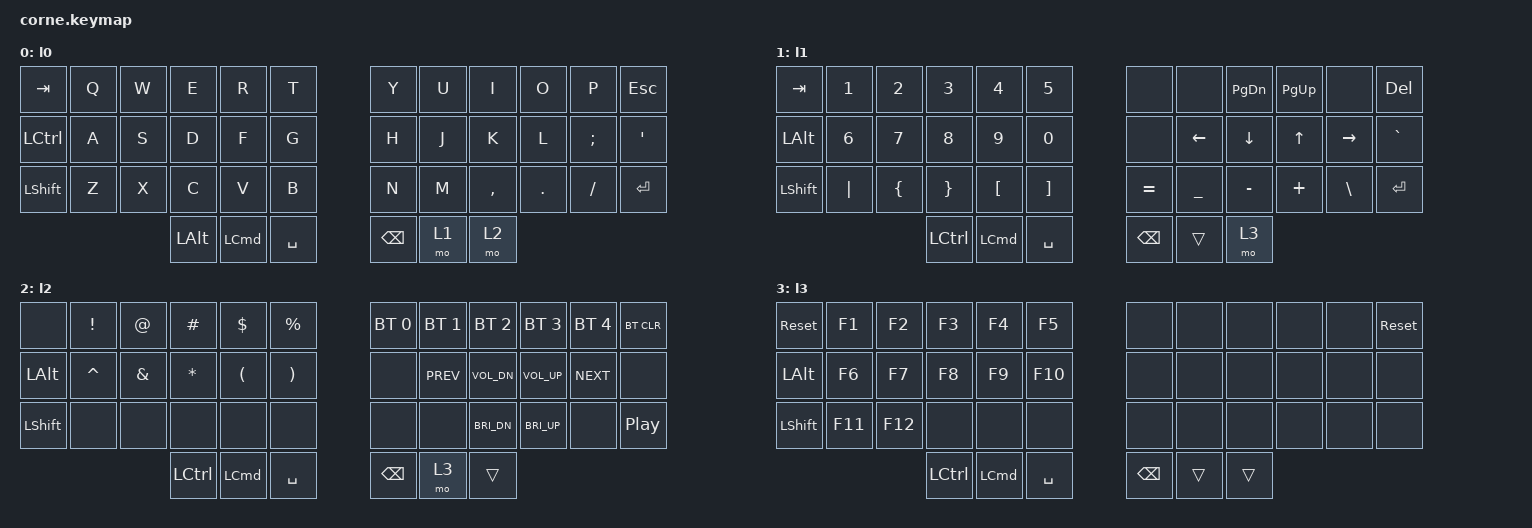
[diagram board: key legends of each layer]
#include <behaviors.dtsi>
#include <dt-bindings/zmk/keys.h>
#include <dt-bindings/zmk/bt.h>

/ {
        keymap {
                compatible = "zmk,keymap";

                l0 {
// -----------------------------------------------------------------------------------------------
// |  TAB |  Q  |  W  |  E  |  R   |  T  |                  |  Y   |  U  |  I  |  O  |  P  | ESC |
// |  ALT |  A  |  S  |  D  |  F   |  G  |                  |  H   |  J  |  K  |  L  |  ;  |  '  |
// | CTRL |  Z  |  X  |  C  |  V   |  B  |                  |  N   |  M  |  ,  |  .  |  /  | ENT |
//                    | GUI | SHFT | SPC |                  | BSPC | L1  | L2  |
                        bindings = <
   &kp TAB   &kp Q &kp W &kp E    &kp R     &kp T        &kp Y    &kp U &kp I     &kp O   &kp P    &kp ESC
   &kp LCTRL &kp A &kp S &kp D    &kp F     &kp G        &kp H    &kp J &kp K     &kp L   &kp SEMI &kp SQT
   &kp LSHFT &kp Z &kp X &kp C    &kp V     &kp B        &kp N    &kp M &kp COMMA &kp DOT &kp FSLH &kp RET
                          &kp LALT &kp LCMD &kp SPACE    &kp BSPC &mo 1 &mo 2
                        >;
                };
                l1 {
// ----------------------------------------------------------------------------------------------
// |  TAB |  1  |  2  |  3  |  4  |  5  |                  |     |     | PGD | PGU |     | DEL  |
// |  ALT |  6  |  7  |  8  |  9  |  0  |                  |     |  <- |  v  |  ^  |  -> |  `   |
// | CTRL |  |  |  {  |  }  |  [  |  ]  |                  |  =  |  _  |  -  |  +  |  \  | ESC  |
//                   | GUI | SHFT | SPC |                  | ENT |     | L3  |
                        bindings = <
   &kp TAB   &kp N1   &kp N2    &kp N3    &kp N4   &kp N5       &none     &none     &kp PG_DN &kp PG_UP &none     &kp DEL
   &kp LALT  &kp N6   &kp N7    &kp N8    &kp N9   &kp N0       &none     &kp LEFT  &kp DOWN  &kp UP    &kp RIGHT &kp GRAVE
   &kp LSHFT &kp PIPE &kp LBRC  &kp RBRC  &kp LBKT &kp RBKT     &kp EQUAL &kp UNDER &kp MINUS &kp PLUS  &kp BSLH  &kp RET
                             &kp LCTRL   &kp LCMD  &kp SPACE    &kp BSPC  &trans    &mo 3
                        >;
                };

                l2 {
// -----------------------------------------------------------------------------------------------
// |     |  @  |  #  |  $  |  %   |  !  |                  | BT1 | BT2  | BT3  | BT4  | BT5 | BTC  |
// |     |  ^  |  &  |  *  |  (   |  )  |                  |     |  prv | vol- | vol+ | nxt |      |
// |     |     |     |     |      |     |                  |     |      | br-  | br+  |     | play |
                bindings = <
&none      &kp EXCL   &kp AT    &kp HASH   &kp DLLR  &kp PRCNT       &bt BT_SEL 0  &bt BT_SEL 1  &bt BT_SEL 2  &bt BT_SEL 3  &bt BT_SEL 4  &bt BT_CLR
&kp LALT   &kp CARET  &kp AMPS  &kp ASTRK  &kp LPAR  &kp RPAR        &none         &kp C_PREV    &kp C_VOL_DN  &kp C_VOL_UP  &kp C_NEXT    &none
&kp LSHFT  &none      &none     &none      &none     &none           &none         &none         &kp C_BRI_DN  &kp C_BRI_UP  &none         &kp C_PP
                                &kp LCTRL  &kp LCMD  &kp SPACE       &kp BSPC      &mo 3         &trans
                >;
                };

                l3 {
// -----------------------------------------------------------------------------------------------
// | TAB  | F1  | F2  | F3  | F4   | F5  |                  |     |      |      |     |    | RST |
// | ALT  | F6  | F7  | F8  | F9   | F10 |                  |     |      |      |     |    |     |
// | CTRL | F11 | F12 |     |      |     |                  |     |      |      |     |    |     |
//                    | GUI | SHFT | SPC |                  | ENT |      |      |
                        bindings = <
   &sys_reset &kp F1  &kp F2  &kp F3  &kp F4 &kp F5        &none   &none    &none  &none &none &sys_reset
   &kp LALT   &kp F6  &kp F7  &kp F8  &kp F9 &kp F10       &none   &none    &none  &none &none &none
   &kp LSHFT  &kp F11 &kp F12 &none   &none  &none         &none   &none    &none  &none &none &none
                        &kp LCTRL  &kp LCMD  &kp SPACE     &kp BSPC &trans  &trans
                        >;
                };
        };
};
